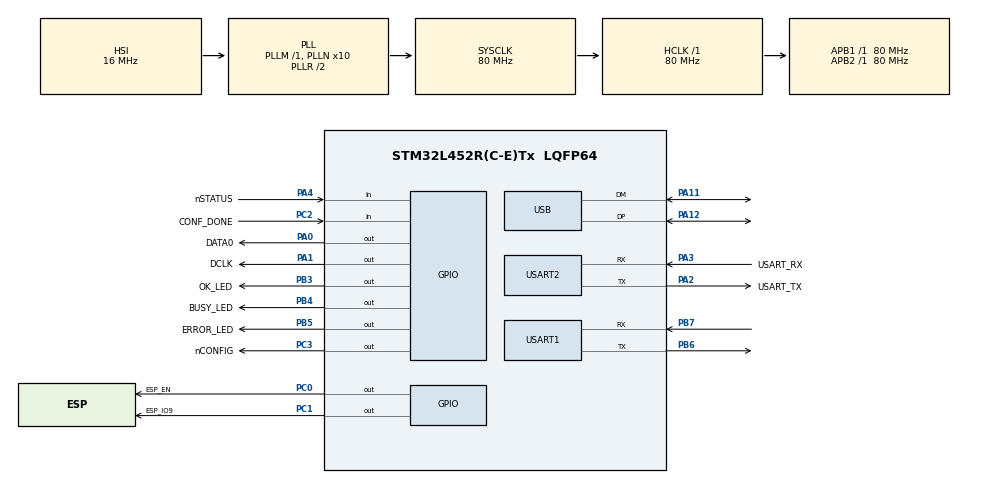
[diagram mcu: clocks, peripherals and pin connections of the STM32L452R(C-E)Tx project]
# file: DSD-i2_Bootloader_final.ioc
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Dma.Request0=USART2_RX
Dma.USART2_RX.0.Direction=DMA_PERIPH_TO_MEMORY
Dma.USART2_RX.0.Instance=DMA1_Channel6
Dma.USART2_RX.0.MemDataAlignment=DMA_MDATAALIGN_BYTE
Dma.USART2_RX.0.MemInc=DMA_MINC_ENABLE
Dma.USART2_RX.0.Mode=DMA_NORMAL
Dma.USART2_RX.0.PeriphDataAlignment=DMA_PDATAALIGN_BYTE
Dma.USART2_RX.0.PeriphInc=DMA_PINC_DISABLE
Dma.USART2_RX.0.Priority=DMA_PRIORITY_LOW
Mcu.Family=STM32L4
Mcu.Name=STM32L452R(C-E)Tx
Mcu.Package=LQFP64
NVIC.DMA1_Channel6_IRQn=true\:0\:0\:false\:false\:true\:false\:true\:true
NVIC.PriorityGroup=NVIC_PRIORITYGROUP_4
NVIC.USART1_IRQn=true\:0\:0\:false\:false\:true\:true\:true\:true
NVIC.USART2_IRQn=true\:0\:0\:false\:false\:true\:true\:true\:true
NVIC.USB_IRQn=true\:0\:0\:false\:false\:true\:true\:true\:true
PA0.GPIO_Label=DATA0
PA0.GPIO_Speed=GPIO_SPEED_FREQ_VERY_HIGH
PA0.Signal=GPIO_Output
PA1.GPIO_Label=DCLK
PA1.GPIO_Speed=GPIO_SPEED_FREQ_VERY_HIGH
PA1.Signal=GPIO_Output
PA11.Mode=Device
PA11.Signal=USB_DM
PA12.Mode=Device
PA12.Signal=USB_DP
PA13\ (JTMS/SWDIO).GPIO_Label=TMS
PA13\ (JTMS/SWDIO).Mode=Serial_Wire
PA13\ (JTMS/SWDIO).Signal=SYS_JTMS-SWDIO
PA14\ (JTCK/SWCLK).GPIO_Label=TCK
PA14\ (JTCK/SWCLK).Mode=Serial_Wire
PA14\ (JTCK/SWCLK).Signal=SYS_JTCK-SWCLK
PA2.GPIO_Label=USART_TX
PA2.Mode=Asynchronous
PA2.Signal=USART2_TX
PA3.GPIO_Label=USART_RX
PA3.Mode=Asynchronous
PA3.Signal=USART2_RX
PA4.GPIO_Label=nSTATUS
PA4.Signal=GPIO_Input
PB3\ (JTDO/TRACESWO).GPIO_Label=OK_LED
PB3\ (JTDO/TRACESWO).Signal=GPIO_Output
PB4\ (NJTRST).GPIO_Label=BUSY_LED
PB4\ (NJTRST).Signal=GPIO_Output
PB5.GPIO_Label=ERROR_LED
PB5.Signal=GPIO_Output
PB6.Mode=Asynchronous
PB6.Signal=USART1_TX
PB7.Mode=Asynchronous
PB7.Signal=USART1_RX
PC0.GPIO_Label=ESP_EN
PC0.Signal=GPIO_Output
PC1.GPIO_Label=ESP_IO9
PC1.Signal=GPIO_Output
PC14-OSC32_IN\ (PC14).Signal=RCC_OSC32_IN
PC15-OSC32_OUT\ (PC15).Signal=RCC_OSC32_OUT
PC2.GPIO_Label=CONF_DONE
PC2.Signal=GPIO_Input
PC3.GPIO_Label=nCONFIG
PC3.PinState=GPIO_PIN_SET
PC3.Signal=GPIO_Output
PH0-OSC_IN\ (PH0).Signal=RCC_OSC_IN
PH1-OSC_OUT\ (PH1).Signal=RCC_OSC_OUT
ProjectManager.HeapSize=0x200
ProjectManager.StackSize=0x400
ProjectManager.TargetToolchain=STM32CubeIDE
RCC.ADCFreq_Value=192000000
RCC.AHBFreq_Value=80000000
RCC.APB1Freq_Value=80000000
RCC.APB1TimFreq_Value=80000000
RCC.APB2Freq_Value=80000000
RCC.APB2TimFreq_Value=80000000
RCC.CK48CLockSelection=RCC_USBCLKSOURCE_HSI48
RCC.CortexFreq_Value=80000000
RCC.HCLKFreq_Value=80000000
RCC.HSE_VALUE=8000000
RCC.HSI48_VALUE=48000000
RCC.HSI_VALUE=16000000
RCC.LSE_VALUE=32768
RCC.MSI_VALUE=4000000
RCC.PLLN=10
RCC.PLLSAI1N=24
RCC.PLLSourceVirtual=RCC_PLLSOURCE_HSI
RCC.PREFETCH_ENABLE=1
RCC.SYSCLKFreq_VALUE=80000000
RCC.SYSCLKSource=RCC_SYSCLKSOURCE_PLLCLK
RCC.USBFreq_Value=48000000
RCC.VCOOutputFreq_Value=160000000
USART1.VirtualMode-Asynchronous=VM_ASYNC
USART2.VirtualMode-Asynchronous=VM_ASYNC
USB_DEVICE.APP_RX_DATA_SIZE=128
USB_DEVICE.APP_TX_DATA_SIZE=4096
USB_DEVICE.CLASS_NAME_FS=CDC
USB_DEVICE.USBD_LPM_ENABLED=0
USB_DEVICE.USBD_SELF_POWERED=0
USB_DEVICE.VirtualMode=Cdc
USB_DEVICE.VirtualModeFS=Cdc_FS
VP_CRC_VS_CRC.Mode=CRC_Activate
VP_USB_DEVICE_VS_USB_DEVICE_CDC_FS.Mode=CDC_FS
board=NUCLEO-L452RE

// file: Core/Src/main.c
/* USER CODE BEGIN Header */
/**
  ******************************************************************************
  * @file           : main.c
  * @brief          : Main program body
  ******************************************************************************
  * @attention
  *
  * Copyright (c) 2022 STMicroelectronics.
  * All rights reserved.
  *
  * This software is licensed under terms that can be found in the LICENSE file
  * in the root directory of this software component.
  * If no LICENSE file comes with this software, it is provided AS-IS.
  *
  ******************************************************************************
  */
/* USER CODE END Header */
#include "main.h"
#include "usb_device.h"

/* USER CODE BEGIN Includes */
#include "bootloader.h"
/* USER CODE END Includes */

 CRC_HandleTypeDef hcrc;

UART_HandleTypeDef huart1;
UART_HandleTypeDef huart2;
DMA_HandleTypeDef hdma_usart1_rx;
DMA_HandleTypeDef hdma_usart2_rx;

void SystemClock_Config(void);
static void MX_GPIO_Init(void);
static void MX_DMA_Init(void);
static void MX_USART2_UART_Init(void);
static void MX_USART1_UART_Init(void);
static void MX_CRC_Init(void);

int main(void)
{

  /* MCU Configuration--------------------------------------------------------*/

  /* Reset of all peripherals, Initializes the Flash interface and the Systick. */
  HAL_Init();

  /* Configure the system clock */
  SystemClock_Config();

  /* Initialize all configured peripherals */
  MX_GPIO_Init();
  MX_USB_DEVICE_Init();
  MX_DMA_Init();
  MX_USART2_UART_Init();
  MX_USART1_UART_Init();
  MX_CRC_Init();
  /* USER CODE BEGIN 2 */

  uint8_t user_application_error=bootloader_init();
  uint32_t timer = HAL_GetTick();
  /* USER CODE END 2 */

  /* Infinite loop */
  /* USER CODE BEGIN WHILE */
  while (1)
  {
	  if (user_application_error || (HAL_GetTick()-timer)<400)
	  {
		  if(CDC_Available_FS()>0)
		  {
				uint8_t received_command[4];
				CDC_Read_FS(received_command,sizeof(received_command));
				uint32_t command = (uint32_t)(received_command[0]<<24) | (uint32_t)(received_command[1]<<16) | (uint32_t)(received_command[2]<<8) | (uint32_t)(received_command[3]);
				command_handler(command);
		  }
	  }
	  else
      {
		  jump_to_user_application();
	  }

    /* USER CODE END WHILE */

  }
}

void SystemClock_Config(void)
{
  RCC_OscInitTypeDef RCC_OscInitStruct = {0};
  RCC_ClkInitTypeDef RCC_ClkInitStruct = {0};

  /** Configure the main internal regulator output voltage
  */
  if (HAL_PWREx_ControlVoltageScaling(PWR_REGULATOR_VOLTAGE_SCALE1) != HAL_OK)
  {
    Error_Handler();
  }

  /** Initializes the RCC Oscillators according to the specified parameters
  * in the RCC_OscInitTypeDef structure.
  */
  RCC_OscInitStruct.OscillatorType = RCC_OSCILLATORTYPE_HSI48|RCC_OSCILLATORTYPE_HSI;
  RCC_OscInitStruct.HSIState = RCC_HSI_ON;
  RCC_OscInitStruct.HSI48State = RCC_HSI48_ON;
  RCC_OscInitStruct.HSICalibrationValue = RCC_HSICALIBRATION_DEFAULT;
  RCC_OscInitStruct.PLL.PLLState = RCC_PLL_ON;
  RCC_OscInitStruct.PLL.PLLSource = RCC_PLLSOURCE_HSI;
  RCC_OscInitStruct.PLL.PLLM = 1;
  RCC_OscInitStruct.PLL.PLLN = 10;
  RCC_OscInitStruct.PLL.PLLP = RCC_PLLP_DIV7;
  RCC_OscInitStruct.PLL.PLLQ = RCC_PLLQ_DIV2;
  RCC_OscInitStruct.PLL.PLLR = RCC_PLLR_DIV2;
  if (HAL_RCC_OscConfig(&RCC_OscInitStruct) != HAL_OK)
  {
    Error_Handler();
  }

  /** Initializes the CPU, AHB and APB buses clocks
  */
  RCC_ClkInitStruct.ClockType = RCC_CLOCKTYPE_HCLK|RCC_CLOCKTYPE_SYSCLK
                              |RCC_CLOCKTYPE_PCLK1|RCC_CLOCKTYPE_PCLK2;
  RCC_ClkInitStruct.SYSCLKSource = RCC_SYSCLKSOURCE_PLLCLK;
  RCC_ClkInitStruct.AHBCLKDivider = RCC_SYSCLK_DIV1;
  RCC_ClkInitStruct.APB1CLKDivider = RCC_HCLK_DIV1;
  RCC_ClkInitStruct.APB2CLKDivider = RCC_HCLK_DIV1;

  if (HAL_RCC_ClockConfig(&RCC_ClkInitStruct, FLASH_LATENCY_4) != HAL_OK)
  {
    Error_Handler();
  }
}

static void MX_CRC_Init(void)
{

  hcrc.Instance = CRC;
  hcrc.Init.DefaultPolynomialUse = DEFAULT_POLYNOMIAL_ENABLE;
  hcrc.Init.DefaultInitValueUse = DEFAULT_INIT_VALUE_ENABLE;
  hcrc.Init.InputDataInversionMode = CRC_INPUTDATA_INVERSION_NONE;
  hcrc.Init.OutputDataInversionMode = CRC_OUTPUTDATA_INVERSION_DISABLE;
  hcrc.InputDataFormat = CRC_INPUTDATA_FORMAT_BYTES;
  if (HAL_CRC_Init(&hcrc) != HAL_OK)
  {
    Error_Handler();
  }

}

static void MX_USART1_UART_Init(void)
{

  huart1.Instance = USART1;
  huart1.Init.BaudRate = 115200;
  huart1.Init.WordLength = UART_WORDLENGTH_8B;
  huart1.Init.StopBits = UART_STOPBITS_1;
  huart1.Init.Parity = UART_PARITY_NONE;
  huart1.Init.Mode = UART_MODE_TX_RX;
  huart1.Init.HwFlowCtl = UART_HWCONTROL_NONE;
  huart1.Init.OverSampling = UART_OVERSAMPLING_16;
  huart1.Init.OneBitSampling = UART_ONE_BIT_SAMPLE_DISABLE;
  huart1.AdvancedInit.AdvFeatureInit = UART_ADVFEATURE_NO_INIT;
  if (HAL_UART_Init(&huart1) != HAL_OK)
  {
    Error_Handler();
  }

}

static void MX_USART2_UART_Init(void)
{

  huart2.Instance = USART2;
  huart2.Init.BaudRate = 115200;
  huart2.Init.WordLength = UART_WORDLENGTH_8B;
  huart2.Init.StopBits = UART_STOPBITS_1;
  huart2.Init.Parity = UART_PARITY_NONE;
  huart2.Init.Mode = UART_MODE_TX_RX;
  huart2.Init.HwFlowCtl = UART_HWCONTROL_NONE;
  huart2.Init.OverSampling = UART_OVERSAMPLING_16;
  huart2.Init.OneBitSampling = UART_ONE_BIT_SAMPLE_DISABLE;
  huart2.AdvancedInit.AdvFeatureInit = UART_ADVFEATURE_NO_INIT;
  if (HAL_UART_Init(&huart2) != HAL_OK)
  {
    Error_Handler();
  }

}

static void MX_DMA_Init(void)
{

  /* DMA controller clock enable */
  __HAL_RCC_DMA1_CLK_ENABLE();

  /* DMA interrupt init */
  /* DMA1_Channel5_IRQn interrupt configuration */
  HAL_NVIC_SetPriority(DMA1_Channel5_IRQn, 0, 0);
  HAL_NVIC_EnableIRQ(DMA1_Channel5_IRQn);
  /* DMA1_Channel6_IRQn interrupt configuration */
  HAL_NVIC_SetPriority(DMA1_Channel6_IRQn, 0, 0);
  HAL_NVIC_EnableIRQ(DMA1_Channel6_IRQn);

}

static void MX_GPIO_Init(void)
{
  GPIO_InitTypeDef GPIO_InitStruct = {0};

  /* GPIO Ports Clock Enable */
  __HAL_RCC_GPIOC_CLK_ENABLE();
  __HAL_RCC_GPIOH_CLK_ENABLE();
  __HAL_RCC_GPIOA_CLK_ENABLE();
  __HAL_RCC_GPIOB_CLK_ENABLE();
  __HAL_RCC_GPIOD_CLK_ENABLE();

  /*Configure GPIO pin Output Level */
  HAL_GPIO_WritePin(GPIOC, ESP_EN_Pin|ESP_IO9_Pin, GPIO_PIN_RESET);

  /*Configure GPIO pin Output Level */
  HAL_GPIO_WritePin(nCONFIG_GPIO_Port, nCONFIG_Pin, GPIO_PIN_SET);

  /*Configure GPIO pin Output Level */
  HAL_GPIO_WritePin(GPIOA, DATA0_Pin|DCLK_Pin, GPIO_PIN_RESET);

  /*Configure GPIO pin Output Level */
  HAL_GPIO_WritePin(GPIOB, OK_LED_Pin|BUSY_LED_Pin|ERROR_LED_Pin, GPIO_PIN_RESET);

  /*Configure GPIO pins : PC13 PC4 PC5 PC6
                           PC7 PC8 PC9 PC10
                           PC11 PC12 */
  GPIO_InitStruct.Pin = GPIO_PIN_13|GPIO_PIN_4|GPIO_PIN_5|GPIO_PIN_6
                          |GPIO_PIN_7|GPIO_PIN_8|GPIO_PIN_9|GPIO_PIN_10
                          |GPIO_PIN_11|GPIO_PIN_12;
  GPIO_InitStruct.Mode = GPIO_MODE_ANALOG;
  GPIO_InitStruct.Pull = GPIO_NOPULL;
  HAL_GPIO_Init(GPIOC, &GPIO_InitStruct);

  /*Configure GPIO pins : ESP_EN_Pin ESP_IO9_Pin nCONFIG_Pin */
  GPIO_InitStruct.Pin = ESP_EN_Pin|ESP_IO9_Pin|nCONFIG_Pin;
  GPIO_InitStruct.Mode = GPIO_MODE_OUTPUT_PP;
  GPIO_InitStruct.Pull = GPIO_NOPULL;
  GPIO_InitStruct.Speed = GPIO_SPEED_FREQ_LOW;
  HAL_GPIO_Init(GPIOC, &GPIO_InitStruct);

  /*Configure GPIO pin : CONF_DONE_Pin */
  GPIO_InitStruct.Pin = CONF_DONE_Pin;
  GPIO_InitStruct.Mode = GPIO_MODE_INPUT;
  GPIO_InitStruct.Pull = GPIO_NOPULL;
  HAL_GPIO_Init(CONF_DONE_GPIO_Port, &GPIO_InitStruct);

  /*Configure GPIO pins : DATA0_Pin DCLK_Pin */
  GPIO_InitStruct.Pin = DATA0_Pin|DCLK_Pin;
  GPIO_InitStruct.Mode = GPIO_MODE_OUTPUT_PP;
  GPIO_InitStruct.Pull = GPIO_NOPULL;
  GPIO_InitStruct.Speed = GPIO_SPEED_FREQ_VERY_HIGH;
  HAL_GPIO_Init(GPIOA, &GPIO_InitStruct);

  /*Configure GPIO pin : nSTATUS_Pin */
  GPIO_InitStruct.Pin = nSTATUS_Pin;
  GPIO_InitStruct.Mode = GPIO_MODE_INPUT;
  GPIO_InitStruct.Pull = GPIO_NOPULL;
  HAL_GPIO_Init(nSTATUS_GPIO_Port, &GPIO_InitStruct);

  /*Configure GPIO pins : PA5 PA6 PA7 PA8
                           PA9 PA10 PA15 */
  GPIO_InitStruct.Pin = GPIO_PIN_5|GPIO_PIN_6|GPIO_PIN_7|GPIO_PIN_8
                          |GPIO_PIN_9|GPIO_PIN_10|GPIO_PIN_15;
  GPIO_InitStruct.Mode = GPIO_MODE_ANALOG;
  GPIO_InitStruct.Pull = GPIO_NOPULL;
  HAL_GPIO_Init(GPIOA, &GPIO_InitStruct);

  /*Configure GPIO pins : PB0 PB1 PB2 PB10
                           PB11 PB12 PB13 PB14
                           PB15 PB8 PB9 */
  GPIO_InitStruct.Pin = GPIO_PIN_0|GPIO_PIN_1|GPIO_PIN_2|GPIO_PIN_10
                          |GPIO_PIN_11|GPIO_PIN_12|GPIO_PIN_13|GPIO_PIN_14
                          |GPIO_PIN_15|GPIO_PIN_8|GPIO_PIN_9;
  GPIO_InitStruct.Mode = GPIO_MODE_ANALOG;
  GPIO_InitStruct.Pull = GPIO_NOPULL;
  HAL_GPIO_Init(GPIOB, &GPIO_InitStruct);

  /*Configure GPIO pin : PD2 */
  GPIO_InitStruct.Pin = GPIO_PIN_2;
  GPIO_InitStruct.Mode = GPIO_MODE_ANALOG;
  GPIO_InitStruct.Pull = GPIO_NOPULL;
  HAL_GPIO_Init(GPIOD, &GPIO_InitStruct);

  /*Configure GPIO pins : OK_LED_Pin BUSY_LED_Pin ERROR_LED_Pin */
  GPIO_InitStruct.Pin = OK_LED_Pin|BUSY_LED_Pin|ERROR_LED_Pin;
  GPIO_InitStruct.Mode = GPIO_MODE_OUTPUT_PP;
  GPIO_InitStruct.Pull = GPIO_NOPULL;
  GPIO_InitStruct.Speed = GPIO_SPEED_FREQ_LOW;
  HAL_GPIO_Init(GPIOB, &GPIO_InitStruct);

  /*Configure GPIO pin : PH3 */
  GPIO_InitStruct.Pin = GPIO_PIN_3;
  GPIO_InitStruct.Mode = GPIO_MODE_ANALOG;
  GPIO_InitStruct.Pull = GPIO_NOPULL;
  HAL_GPIO_Init(GPIOH, &GPIO_InitStruct);

}

/* USER CODE BEGIN 4 */
void deInitializer()
{
	HAL_CRC_DeInit(&hcrc);
	MX_USB_DEVICE_DeInit();
	HAL_UART_DeInit(&huart2);
	HAL_UART_DeInit(&huart1);
	HAL_RCC_DeInit();
	HAL_DeInit();
	SysTick->CTRL = 0;
	SysTick->LOAD = 0;
	SysTick->VAL = 0;
}
/* USER CODE END 4 */

void Error_Handler(void)
{
  /* USER CODE BEGIN Error_Handler_Debug */
  /* User can add his own implementation to report the HAL error return state */
  __disable_irq();
  while (1)
  {
	  HAL_GPIO_TogglePin(ERROR_LED_GPIO_Port, ERROR_LED_Pin);
	  HAL_Delay(1000);
  }
  /* USER CODE END Error_Handler_Debug */
}
